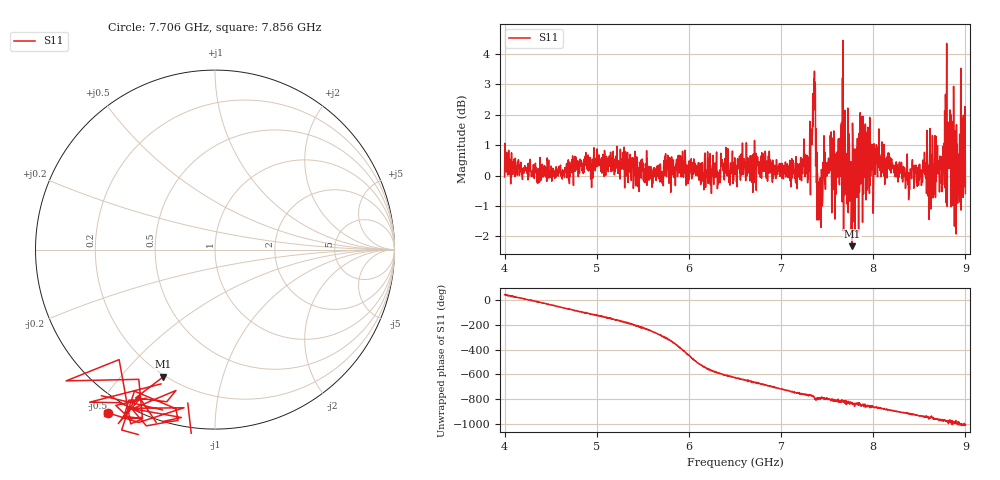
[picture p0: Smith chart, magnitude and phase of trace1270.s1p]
! Created with skrf 1.8.0 (http://scikit-rf.org).
# Hz S RI R 50.0
!freq ReS11 ImS11
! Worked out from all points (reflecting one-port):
!   1601 points, 4 GHz to 9 GHz, reference 50 ohm
!   lowest |S11| = -2.3 dB at 7.772 GHz (marker M1), VSWR 7.51, Z = 9.6 - j32.8 ohm
!   phase of S11 starts at 46 deg and turns -1052 deg over the sweep
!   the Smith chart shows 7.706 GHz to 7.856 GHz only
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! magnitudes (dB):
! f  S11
! 4 GHz  0.0
! 4.625 GHz  -0.1
! 5.25 GHz  0.1
! 5.875 GHz  0.0
! 6.5 GHz  0.0
! 7.125 GHz  0.1
! 7.294 GHz  -0.1
! 7.347 GHz  1.6
! 7.369 GHz  3.1
! 7.409 GHz  -1.5
! 7.519 GHz  0.4
! 7.572 GHz  1.5
! 7.609 GHz  0.3
! 7.669 GHz  0.7
! 7.703 GHz  -0.6
! 7.716 GHz  0.0
! 7.75 GHz  -0.2
! 7.772 GHz  -2.3
! 7.891 GHz  0.0
! 7.909 GHz  1.2
! 7.928 GHz  1.4
! 8.05 GHz  0.9
! 8.375 GHz  0.0
! 8.728 GHz  0.5
! 8.8 GHz  0.8
! 8.906 GHz  0.8
! 8.972 GHz  0.7
! 9 GHz  -0.6
